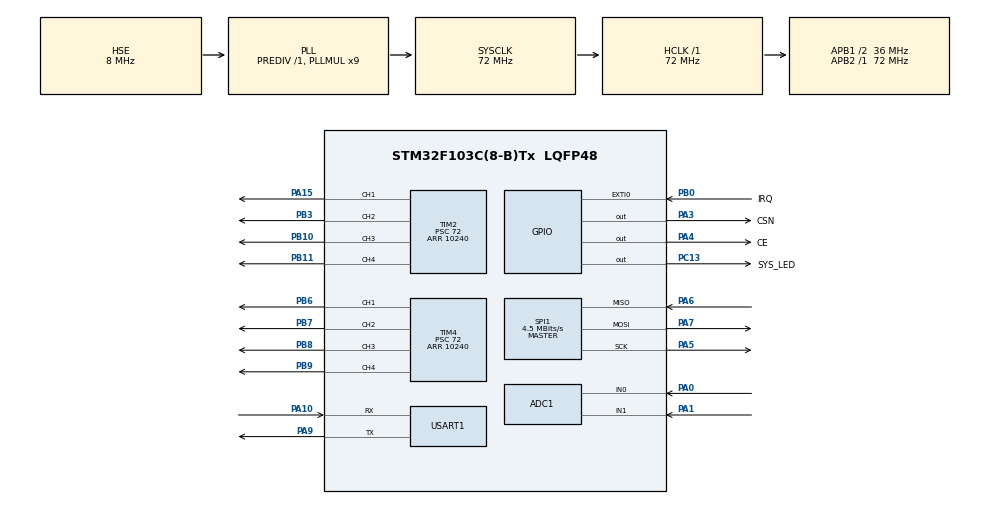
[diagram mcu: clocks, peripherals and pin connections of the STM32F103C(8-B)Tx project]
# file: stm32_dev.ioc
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ADC1.Channel-0\#ChannelRegularConversion=ADC_CHANNEL_0
ADC1.Channel-1\#ChannelRegularConversion=ADC_CHANNEL_1
ADC1.ContinuousConvMode=ENABLE
ADC1.NbrOfConversion=2
ADC1.NbrOfConversionFlag=1
ADC1.Rank-0\#ChannelRegularConversion=1
ADC1.Rank-1\#ChannelRegularConversion=2
ADC1.SamplingTime-0\#ChannelRegularConversion=ADC_SAMPLETIME_1CYCLE_5
ADC1.SamplingTime-1\#ChannelRegularConversion=ADC_SAMPLETIME_1CYCLE_5
ADC1.master=1
Dma.ADC1.0.Direction=DMA_PERIPH_TO_MEMORY
Dma.ADC1.0.Instance=DMA1_Channel1
Dma.ADC1.0.MemDataAlignment=DMA_MDATAALIGN_HALFWORD
Dma.ADC1.0.MemInc=DMA_MINC_ENABLE
Dma.ADC1.0.Mode=DMA_CIRCULAR
Dma.ADC1.0.PeriphDataAlignment=DMA_PDATAALIGN_HALFWORD
Dma.ADC1.0.PeriphInc=DMA_PINC_DISABLE
Dma.ADC1.0.Priority=DMA_PRIORITY_LOW
Dma.Request0=ADC1
Mcu.Family=STM32F1
Mcu.Name=STM32F103C(8-B)Tx
Mcu.Package=LQFP48
NVIC.ADC1_2_IRQn=true\:0\:0\:false\:false\:true\:true\:true
NVIC.DMA1_Channel1_IRQn=true\:0\:0\:false\:false\:true\:false\:true
NVIC.EXTI0_IRQn=true\:0\:0\:false\:false\:true\:true\:true
NVIC.PriorityGroup=NVIC_PRIORITYGROUP_4
NVIC.SPI1_IRQn=true\:0\:0\:false\:false\:true\:true\:true
PA0-WKUP.Signal=SharedAnalog_PA0
PA1.Signal=SharedAnalog_PA1
PA10.Mode=Asynchronous
PA10.Signal=USART1_RX
PA13.Mode=Serial_Wire
PA13.Signal=SYS_JTMS-SWDIO
PA14.Mode=Serial_Wire
PA14.Signal=SYS_JTCK-SWCLK
PA15.Signal=S_TIM2_CH1_ETR
PA3.GPIO_Label=CSN
PA3.GPIO_ModeDefaultOutputPP=GPIO_MODE_OUTPUT_PP
PA3.GPIO_PuPd=GPIO_PULLUP
PA3.PinState=GPIO_PIN_SET
PA3.Signal=GPIO_Output
PA4.GPIO_Label=CE
PA4.Signal=GPIO_Output
PA5.Mode=Full_Duplex_Master
PA5.Signal=SPI1_SCK
PA6.Mode=Full_Duplex_Master
PA6.Signal=SPI1_MISO
PA7.Mode=Full_Duplex_Master
PA7.Signal=SPI1_MOSI
PA9.Mode=Asynchronous
PA9.Signal=USART1_TX
PB0.GPIO_Label=IRQ
PB0.GPIO_ModeDefaultEXTI=GPIO_MODE_IT_RISING_FALLING
PB0.GPIO_PuPd=GPIO_PULLUP
PB0.Signal=GPXTI0
PB10.Signal=S_TIM2_CH3
PB11.Signal=S_TIM2_CH4
PB3.Signal=S_TIM2_CH2
PB6.Signal=S_TIM4_CH1
PB7.Signal=S_TIM4_CH2
PB8.Signal=S_TIM4_CH3
PB9.Signal=S_TIM4_CH4
PC13-TAMPER-RTC.GPIO_Label=SYS_LED
PC13-TAMPER-RTC.Signal=GPIO_Output
PC14-OSC32_IN.Mode=LSE-External-Oscillator
PC14-OSC32_IN.Signal=RCC_OSC32_IN
PC15-OSC32_OUT.Mode=LSE-External-Oscillator
PC15-OSC32_OUT.Signal=RCC_OSC32_OUT
PD0-OSC_IN.Mode=HSE-External-Oscillator
PD0-OSC_IN.Signal=RCC_OSC_IN
PD1-OSC_OUT.Mode=HSE-External-Oscillator
PD1-OSC_OUT.Signal=RCC_OSC_OUT
ProjectManager.HeapSize=0x200
ProjectManager.StackSize=0x400
ProjectManager.TargetToolchain=Makefile
RCC.ADCPresc=RCC_ADCPCLK2_DIV8
RCC.AHBFreq_Value=72000000
RCC.APB1CLKDivider=RCC_HCLK_DIV2
RCC.APB1Freq_Value=36000000
RCC.APB1TimFreq_Value=72000000
RCC.APB2Freq_Value=72000000
RCC.APB2TimFreq_Value=72000000
RCC.HCLKFreq_Value=72000000
RCC.PLLMUL=RCC_PLL_MUL9
RCC.PLLSourceVirtual=RCC_PLLSOURCE_HSE
RCC.SYSCLKFreq_VALUE=72000000
RCC.SYSCLKSource=RCC_SYSCLKSOURCE_PLLCLK
RCC.USBFreq_Value=72000000
SH.S_TIM2_CH1_ETR.0=TIM2_CH1,PWM Generation1 CH1
SH.S_TIM2_CH2.0=TIM2_CH2,PWM Generation2 CH2
SH.S_TIM2_CH3.0=TIM2_CH3,PWM Generation3 CH3
SH.S_TIM2_CH4.0=TIM2_CH4,PWM Generation4 CH4
SH.S_TIM4_CH1.0=TIM4_CH1,PWM Generation1 CH1
SH.S_TIM4_CH2.0=TIM4_CH2,PWM Generation2 CH2
SH.S_TIM4_CH3.0=TIM4_CH3,PWM Generation3 CH3
SH.S_TIM4_CH4.0=TIM4_CH4,PWM Generation4 CH4
SH.SharedAnalog_PA0.0=GPIO_Analog
SH.SharedAnalog_PA0.1=ADC1_IN0,IN0
SH.SharedAnalog_PA1.0=GPIO_Analog
SH.SharedAnalog_PA1.1=ADC1_IN1,IN1
SPI1.BaudRatePrescaler=SPI_BAUDRATEPRESCALER_16
SPI1.CalculateBaudRate=4.5 MBits/s
SPI1.Direction=SPI_DIRECTION_2LINES
SPI1.Mode=SPI_MODE_MASTER
SPI1.VirtualType=VM_MASTER
TIM2.Channel-PWM\ Generation1\ CH1=TIM_CHANNEL_1
TIM2.Channel-PWM\ Generation2\ CH2=TIM_CHANNEL_2
TIM2.Channel-PWM\ Generation3\ CH3=TIM_CHANNEL_3
TIM2.Channel-PWM\ Generation4\ CH4=TIM_CHANNEL_4
TIM2.Period=10240
TIM2.Prescaler=72
TIM4.Channel-PWM\ Generation1\ CH1=TIM_CHANNEL_1
TIM4.Channel-PWM\ Generation2\ CH2=TIM_CHANNEL_2
TIM4.Channel-PWM\ Generation3\ CH3=TIM_CHANNEL_3
TIM4.Channel-PWM\ Generation4\ CH4=TIM_CHANNEL_4
TIM4.Period=10240
TIM4.Prescaler=72
USART1.VirtualMode=VM_ASYNC
VP_TIM2_VS_ClockSourceITR.Mode=TriggerSource_ITR0
VP_TIM2_VS_ControllerModeClock.Mode=Clock Mode
VP_TIM4_VS_ClockSourceITR.Mode=TriggerSource_ITR0
VP_TIM4_VS_ControllerModeClock.Mode=Clock Mode
board=custom

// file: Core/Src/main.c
/* USER CODE BEGIN Header */
/**
  ******************************************************************************
  * @file           : main.c
  * @brief          : Main program body
  ******************************************************************************
  * @attention
  *
  * <h2><center>&copy; Copyright (c) 2024 STMicroelectronics.
  * All rights reserved.</center></h2>
  *
  * This software component is licensed by ST under BSD 3-Clause license,
  * the "License"; You may not use this file except in compliance with the
  * License. You may obtain a copy of the License at:
  *                        opensource.org/licenses/BSD-3-Clause
  *
  ******************************************************************************
  */
/* USER CODE END Header */
#include "main.h"

/* USER CODE BEGIN Includes */
#include <string.h>
#include "log.h"
#include "nrf24l01.h"
#include "car.h"
/* USER CODE END Includes */

ADC_HandleTypeDef hadc1;
DMA_HandleTypeDef hdma_adc1;

SPI_HandleTypeDef hspi1;

TIM_HandleTypeDef htim2;
TIM_HandleTypeDef htim4;

UART_HandleTypeDef huart1;

void SystemClock_Config(void);
static void MX_GPIO_Init(void);
static void MX_DMA_Init(void);
static void MX_USART1_UART_Init(void);
static void MX_SPI1_Init(void);
static void MX_ADC1_Init(void);
static void MX_TIM2_Init(void);
static void MX_TIM4_Init(void);

/* USER CODE BEGIN 0 */
void pc13_blink(uint32_t cnt)
{
  for (uint32_t i = 0; i < cnt; i++)
  {
    HAL_GPIO_WritePin(SYS_LED_GPIO_Port, SYS_LED_Pin, GPIO_PIN_RESET);
    HAL_Delay(300);
    HAL_GPIO_WritePin(SYS_LED_GPIO_Port, SYS_LED_Pin, GPIO_PIN_SET);
    HAL_Delay(200);
  }
  HAL_Delay(2000);
}
nrf24l01 nrf_dev;
void HAL_GPIO_EXTI_Callback(uint16_t GPIO_Pin)
{
  LOG("tigger external interrupt here, gpio_pin:%u irq_pin:%u", GPIO_Pin, IRQ_Pin);
  if (GPIO_Pin == IRQ_Pin)
  {
    nrf_irq_handler(&nrf_dev);
  }
}
int get_stick_directions()
{
#define NR_SAMPLED_VALUE 16
  static uint16_t sampled_values[NR_SAMPLED_VALUE];
  static bool started = 0;
  if (!started)
  {
    started = 1;
    memset(sampled_values, 0, sizeof(uint16_t) * NR_SAMPLED_VALUE);
    HAL_ADC_Start_DMA(&hadc1, (uint32_t *)&sampled_values, (uint32_t)NR_SAMPLED_VALUE);
  }
  uint32_t x = 0;
  uint32_t y = 0;
  for (uint32_t i = 0; i < NR_SAMPLED_VALUE;)
  {
    x += sampled_values[i];
    i++;
    y += sampled_values[i];
    i++;
  }
  x = x / NR_SAMPLED_VALUE / 2;
  y = y / NR_SAMPLED_VALUE / 2;
  int changed_x = 1;
  int changed_y = 1;
  if (x < 750 - 200)
  {
    changed_x -= 1;
  }
  else if (x > 750 + 200)
  {
    changed_x += 1;
  }
  if (y < 750 - 200)
  {
    changed_y -= 1;
  }
  else if (y > 750 + 200)
  {
    changed_y += 1;
  }
  LOG("adc x:%lu y:%lu --> %d", x, y, changed_x * 3 + changed_y);
  return changed_x * 3 + changed_y;
}

/* USER CODE END 0 */

int main(void)
{

  /* MCU Configuration--------------------------------------------------------*/

  /* Reset of all peripherals, Initializes the Flash interface and the Systick. */
  HAL_Init();

  /* Configure the system clock */
  SystemClock_Config();

  /* Initialize all configured peripherals */
  MX_GPIO_Init();
  MX_DMA_Init();
  MX_USART1_UART_Init();
  MX_SPI1_Init();
  MX_ADC1_Init();
  MX_TIM2_Init();
  MX_TIM4_Init();
  /* USER CODE BEGIN 2 */
  const uint8_t tx_address[5] = {1, 2, 3, 4, 5};
  const uint8_t rx_address[5] = {5, 4, 3, 2, 1};

  uint32_t rx_data = 0;
  nrf24l01_config config;
  config.data_rate = NRF_DATA_RATE_1MBPS;
  config.tx_power = NRF_TX_PWR_0dBm;
  config.crc_width = NRF_CRC_WIDTH_1B;
  config.addr_width = NRF_ADDR_WIDTH_5;
  config.payload_length = 4;      // maximum is 32 bytes
  config.retransmit_count = 15;   // maximum is 15 times
  config.retransmit_delay = 0x0F; // 4000us, LSB:250us
  config.rf_channel = 0;
  config.rx_address = rx_address;
  config.tx_address = tx_address;
  config.rx_buffer = (uint8_t *)&rx_data;

  config.spi = &hspi1;
  config.spi_timeout = 10; // milliseconds
  config.ce_port = CE_GPIO_Port;
  config.ce_pin = CE_Pin;
  config.irq_port = IRQ_GPIO_Port;
  config.irq_pin = IRQ_Pin;
  config.csn_port = CSN_GPIO_Port;
  config.csn_pin = CSN_Pin;

  LOG("start to init nrf");
  NRF_RESULT rc = nrf_init(&nrf_dev, &config);
  if (rc != NRF_OK)
  {
    LOG("init nrf failed, error:%d", rc);
    while (1)
    {
      pc13_blink(4);
    }
    return 0;
  }
  LOG("finish init nrf");

  CarTypeDef my_car;
  MotorTypeDef m1 =
      {
          .timer_1 = &htim2,
          .channel_1 = TIM_CHANNEL_1,
          .timer_2 = &htim2,
          .channel_2 = TIM_CHANNEL_2,
      };
  MotorTypeDef m2 = {
      .timer_1 = &htim2,
      .channel_1 = TIM_CHANNEL_3,
      .timer_2 = &htim2,
      .channel_2 = TIM_CHANNEL_4,
  };
  MotorTypeDef m3 = {
      .timer_1 = &htim4,
      .channel_1 = TIM_CHANNEL_1,
      .timer_2 = &htim4,
      .channel_2 = TIM_CHANNEL_2,
  };
  MotorTypeDef m4 = {
      .timer_1 = &htim2,
      .channel_1 = TIM_CHANNEL_3,
      .timer_2 = &htim2,
      .channel_2 = TIM_CHANNEL_4,
  };
  Car_Init(&my_car, m1, m2, m3, m4);
  uint32_t nop_cnt = 0;

  /* USER CODE END 2 */

  /* Infinite loop */
  while (1)
  {

    /* USER CODE BEGIN 3 */
    HAL_Delay(1000);

    LOG("start receive packet");
    const uint8_t *tmp_data = nrf_try_receive_packet(&nrf_dev);
    uint32_t cmd = CAR_CMD_END;
    if (tmp_data != NULL) {
      cmd = *(uint32_t *)tmp_data;
    }
    if (cmd != CAR_CMD_END) {
      nop_cnt = 0;
      LOG("got data:%lu", *(uint32_t*)tmp_data);
      Car_Move(&my_car, cmd);
    }else {
      nop_cnt += 1;
      LOG("no data, try receive next round, no_cnt:%lu", nop_cnt);
      if (nop_cnt > 3) {
        Car_Move(&my_car,CAR_CMD_STOP);
      }
    }
  }
  /* USER CODE END 3 */
}

void SystemClock_Config(void)
{
  RCC_OscInitTypeDef RCC_OscInitStruct = {0};
  RCC_ClkInitTypeDef RCC_ClkInitStruct = {0};
  RCC_PeriphCLKInitTypeDef PeriphClkInit = {0};

  /** Initializes the RCC Oscillators according to the specified parameters
  * in the RCC_OscInitTypeDef structure.
  */
  RCC_OscInitStruct.OscillatorType = RCC_OSCILLATORTYPE_HSE;
  RCC_OscInitStruct.HSEState = RCC_HSE_ON;
  RCC_OscInitStruct.HSEPredivValue = RCC_HSE_PREDIV_DIV1;
  RCC_OscInitStruct.HSIState = RCC_HSI_ON;
  RCC_OscInitStruct.PLL.PLLState = RCC_PLL_ON;
  RCC_OscInitStruct.PLL.PLLSource = RCC_PLLSOURCE_HSE;
  RCC_OscInitStruct.PLL.PLLMUL = RCC_PLL_MUL9;
  if (HAL_RCC_OscConfig(&RCC_OscInitStruct) != HAL_OK)
  {
    Error_Handler();
  }
  /** Initializes the CPU, AHB and APB buses clocks
  */
  RCC_ClkInitStruct.ClockType = RCC_CLOCKTYPE_HCLK|RCC_CLOCKTYPE_SYSCLK
                              |RCC_CLOCKTYPE_PCLK1|RCC_CLOCKTYPE_PCLK2;
  RCC_ClkInitStruct.SYSCLKSource = RCC_SYSCLKSOURCE_PLLCLK;
  RCC_ClkInitStruct.AHBCLKDivider = RCC_SYSCLK_DIV1;
  RCC_ClkInitStruct.APB1CLKDivider = RCC_HCLK_DIV2;
  RCC_ClkInitStruct.APB2CLKDivider = RCC_HCLK_DIV1;

  if (HAL_RCC_ClockConfig(&RCC_ClkInitStruct, FLASH_LATENCY_2) != HAL_OK)
  {
    Error_Handler();
  }
  PeriphClkInit.PeriphClockSelection = RCC_PERIPHCLK_ADC;
  PeriphClkInit.AdcClockSelection = RCC_ADCPCLK2_DIV8;
  if (HAL_RCCEx_PeriphCLKConfig(&PeriphClkInit) != HAL_OK)
  {
    Error_Handler();
  }
}

static void MX_ADC1_Init(void)
{

  ADC_ChannelConfTypeDef sConfig = {0};

  /** Common config
  */
  hadc1.Instance = ADC1;
  hadc1.Init.ScanConvMode = ADC_SCAN_ENABLE;
  hadc1.Init.ContinuousConvMode = ENABLE;
  hadc1.Init.DiscontinuousConvMode = DISABLE;
  hadc1.Init.ExternalTrigConv = ADC_SOFTWARE_START;
  hadc1.Init.DataAlign = ADC_DATAALIGN_RIGHT;
  hadc1.Init.NbrOfConversion = 2;
  if (HAL_ADC_Init(&hadc1) != HAL_OK)
  {
    Error_Handler();
  }
  /** Configure Regular Channel
  */
  sConfig.Channel = ADC_CHANNEL_0;
  sConfig.Rank = ADC_REGULAR_RANK_1;
  sConfig.SamplingTime = ADC_SAMPLETIME_1CYCLE_5;
  if (HAL_ADC_ConfigChannel(&hadc1, &sConfig) != HAL_OK)
  {
    Error_Handler();
  }
  /** Configure Regular Channel
  */
  sConfig.Channel = ADC_CHANNEL_1;
  sConfig.Rank = ADC_REGULAR_RANK_2;
  if (HAL_ADC_ConfigChannel(&hadc1, &sConfig) != HAL_OK)
  {
    Error_Handler();
  }

}

static void MX_SPI1_Init(void)
{

  /* SPI1 parameter configuration*/
  hspi1.Instance = SPI1;
  hspi1.Init.Mode = SPI_MODE_MASTER;
  hspi1.Init.Direction = SPI_DIRECTION_2LINES;
  hspi1.Init.DataSize = SPI_DATASIZE_8BIT;
  hspi1.Init.CLKPolarity = SPI_POLARITY_LOW;
  hspi1.Init.CLKPhase = SPI_PHASE_1EDGE;
  hspi1.Init.NSS = SPI_NSS_SOFT;
  hspi1.Init.BaudRatePrescaler = SPI_BAUDRATEPRESCALER_16;
  hspi1.Init.FirstBit = SPI_FIRSTBIT_MSB;
  hspi1.Init.TIMode = SPI_TIMODE_DISABLE;
  hspi1.Init.CRCCalculation = SPI_CRCCALCULATION_DISABLE;
  hspi1.Init.CRCPolynomial = 10;
  if (HAL_SPI_Init(&hspi1) != HAL_OK)
  {
    Error_Handler();
  }

}

static void MX_TIM2_Init(void)
{

  TIM_SlaveConfigTypeDef sSlaveConfig = {0};
  TIM_MasterConfigTypeDef sMasterConfig = {0};
  TIM_OC_InitTypeDef sConfigOC = {0};

  htim2.Instance = TIM2;
  htim2.Init.Prescaler = 72;
  htim2.Init.CounterMode = TIM_COUNTERMODE_UP;
  htim2.Init.Period = 10240;
  htim2.Init.ClockDivision = TIM_CLOCKDIVISION_DIV1;
  htim2.Init.AutoReloadPreload = TIM_AUTORELOAD_PRELOAD_DISABLE;
  if (HAL_TIM_Base_Init(&htim2) != HAL_OK)
  {
    Error_Handler();
  }
  if (HAL_TIM_PWM_Init(&htim2) != HAL_OK)
  {
    Error_Handler();
  }
  sSlaveConfig.SlaveMode = TIM_SLAVEMODE_EXTERNAL1;
  sSlaveConfig.InputTrigger = TIM_TS_ITR0;
  if (HAL_TIM_SlaveConfigSynchro(&htim2, &sSlaveConfig) != HAL_OK)
  {
    Error_Handler();
  }
  sMasterConfig.MasterOutputTrigger = TIM_TRGO_RESET;
  sMasterConfig.MasterSlaveMode = TIM_MASTERSLAVEMODE_DISABLE;
  if (HAL_TIMEx_MasterConfigSynchronization(&htim2, &sMasterConfig) != HAL_OK)
  {
    Error_Handler();
  }
  sConfigOC.OCMode = TIM_OCMODE_PWM1;
  sConfigOC.Pulse = 0;
  sConfigOC.OCPolarity = TIM_OCPOLARITY_HIGH;
  sConfigOC.OCFastMode = TIM_OCFAST_DISABLE;
  if (HAL_TIM_PWM_ConfigChannel(&htim2, &sConfigOC, TIM_CHANNEL_1) != HAL_OK)
  {
    Error_Handler();
  }
  if (HAL_TIM_PWM_ConfigChannel(&htim2, &sConfigOC, TIM_CHANNEL_2) != HAL_OK)
  {
    Error_Handler();
  }
  if (HAL_TIM_PWM_ConfigChannel(&htim2, &sConfigOC, TIM_CHANNEL_3) != HAL_OK)
  {
    Error_Handler();
  }
  if (HAL_TIM_PWM_ConfigChannel(&htim2, &sConfigOC, TIM_CHANNEL_4) != HAL_OK)
  {
    Error_Handler();
  }
  HAL_TIM_MspPostInit(&htim2);

}

static void MX_TIM4_Init(void)
{

  TIM_SlaveConfigTypeDef sSlaveConfig = {0};
  TIM_MasterConfigTypeDef sMasterConfig = {0};
  TIM_OC_InitTypeDef sConfigOC = {0};

  htim4.Instance = TIM4;
  htim4.Init.Prescaler = 72;
  htim4.Init.CounterMode = TIM_COUNTERMODE_UP;
  htim4.Init.Period = 10240;
  htim4.Init.ClockDivision = TIM_CLOCKDIVISION_DIV1;
  htim4.Init.AutoReloadPreload = TIM_AUTORELOAD_PRELOAD_DISABLE;
  if (HAL_TIM_Base_Init(&htim4) != HAL_OK)
  {
    Error_Handler();
  }
  if (HAL_TIM_PWM_Init(&htim4) != HAL_OK)
  {
    Error_Handler();
  }
  sSlaveConfig.SlaveMode = TIM_SLAVEMODE_EXTERNAL1;
  sSlaveConfig.InputTrigger = TIM_TS_ITR0;
  if (HAL_TIM_SlaveConfigSynchro(&htim4, &sSlaveConfig) != HAL_OK)
  {
    Error_Handler();
  }
  sMasterConfig.MasterOutputTrigger = TIM_TRGO_RESET;
  sMasterConfig.MasterSlaveMode = TIM_MASTERSLAVEMODE_DISABLE;
  if (HAL_TIMEx_MasterConfigSynchronization(&htim4, &sMasterConfig) != HAL_OK)
  {
    Error_Handler();
  }
  sConfigOC.OCMode = TIM_OCMODE_PWM1;
  sConfigOC.Pulse = 0;
  sConfigOC.OCPolarity = TIM_OCPOLARITY_HIGH;
  sConfigOC.OCFastMode = TIM_OCFAST_DISABLE;
  if (HAL_TIM_PWM_ConfigChannel(&htim4, &sConfigOC, TIM_CHANNEL_1) != HAL_OK)
  {
    Error_Handler();
  }
  if (HAL_TIM_PWM_ConfigChannel(&htim4, &sConfigOC, TIM_CHANNEL_2) != HAL_OK)
  {
    Error_Handler();
  }
  if (HAL_TIM_PWM_ConfigChannel(&htim4, &sConfigOC, TIM_CHANNEL_3) != HAL_OK)
  {
    Error_Handler();
  }
  if (HAL_TIM_PWM_ConfigChannel(&htim4, &sConfigOC, TIM_CHANNEL_4) != HAL_OK)
  {
    Error_Handler();
  }
  HAL_TIM_MspPostInit(&htim4);

}

static void MX_USART1_UART_Init(void)
{

  huart1.Instance = USART1;
  huart1.Init.BaudRate = 115200;
  huart1.Init.WordLength = UART_WORDLENGTH_8B;
  huart1.Init.StopBits = UART_STOPBITS_1;
  huart1.Init.Parity = UART_PARITY_NONE;
  huart1.Init.Mode = UART_MODE_TX_RX;
  huart1.Init.HwFlowCtl = UART_HWCONTROL_NONE;
  huart1.Init.OverSampling = UART_OVERSAMPLING_16;
  if (HAL_UART_Init(&huart1) != HAL_OK)
  {
    Error_Handler();
  }

}

static void MX_DMA_Init(void)
{

  /* DMA controller clock enable */
  __HAL_RCC_DMA1_CLK_ENABLE();

  /* DMA interrupt init */
  /* DMA1_Channel1_IRQn interrupt configuration */
  HAL_NVIC_SetPriority(DMA1_Channel1_IRQn, 0, 0);
  HAL_NVIC_EnableIRQ(DMA1_Channel1_IRQn);

}

static void MX_GPIO_Init(void)
{
  GPIO_InitTypeDef GPIO_InitStruct = {0};

  /* GPIO Ports Clock Enable */
  __HAL_RCC_GPIOC_CLK_ENABLE();
  __HAL_RCC_GPIOD_CLK_ENABLE();
  __HAL_RCC_GPIOA_CLK_ENABLE();
  __HAL_RCC_GPIOB_CLK_ENABLE();

  /*Configure GPIO pin Output Level */
  HAL_GPIO_WritePin(SYS_LED_GPIO_Port, SYS_LED_Pin, GPIO_PIN_RESET);

  /*Configure GPIO pin Output Level */
  HAL_GPIO_WritePin(CSN_GPIO_Port, CSN_Pin, GPIO_PIN_SET);

  /*Configure GPIO pin Output Level */
  HAL_GPIO_WritePin(CE_GPIO_Port, CE_Pin, GPIO_PIN_RESET);

  /*Configure GPIO pin : SYS_LED_Pin */
  GPIO_InitStruct.Pin = SYS_LED_Pin;
  GPIO_InitStruct.Mode = GPIO_MODE_OUTPUT_PP;
  GPIO_InitStruct.Pull = GPIO_NOPULL;
  GPIO_InitStruct.Speed = GPIO_SPEED_FREQ_LOW;
  HAL_GPIO_Init(SYS_LED_GPIO_Port, &GPIO_InitStruct);

  /*Configure GPIO pin : CSN_Pin */
  GPIO_InitStruct.Pin = CSN_Pin;
  GPIO_InitStruct.Mode = GPIO_MODE_OUTPUT_PP;
  GPIO_InitStruct.Pull = GPIO_PULLUP;
  GPIO_InitStruct.Speed = GPIO_SPEED_FREQ_LOW;
  HAL_GPIO_Init(CSN_GPIO_Port, &GPIO_InitStruct);

  /*Configure GPIO pin : CE_Pin */
  GPIO_InitStruct.Pin = CE_Pin;
  GPIO_InitStruct.Mode = GPIO_MODE_OUTPUT_PP;
  GPIO_InitStruct.Pull = GPIO_NOPULL;
  GPIO_InitStruct.Speed = GPIO_SPEED_FREQ_LOW;
  HAL_GPIO_Init(CE_GPIO_Port, &GPIO_InitStruct);

  /*Configure GPIO pin : IRQ_Pin */
  GPIO_InitStruct.Pin = IRQ_Pin;
  GPIO_InitStruct.Mode = GPIO_MODE_IT_RISING_FALLING;
  GPIO_InitStruct.Pull = GPIO_PULLUP;
  HAL_GPIO_Init(IRQ_GPIO_Port, &GPIO_InitStruct);

  /* EXTI interrupt init*/
  HAL_NVIC_SetPriority(EXTI0_IRQn, 0, 0);
  HAL_NVIC_EnableIRQ(EXTI0_IRQn);

}

void Error_Handler(void)
{
  __disable_irq();
  while (1)
  {
  }
}

/************************ (C) COPYRIGHT STMicroelectronics *****END OF FILE****/
